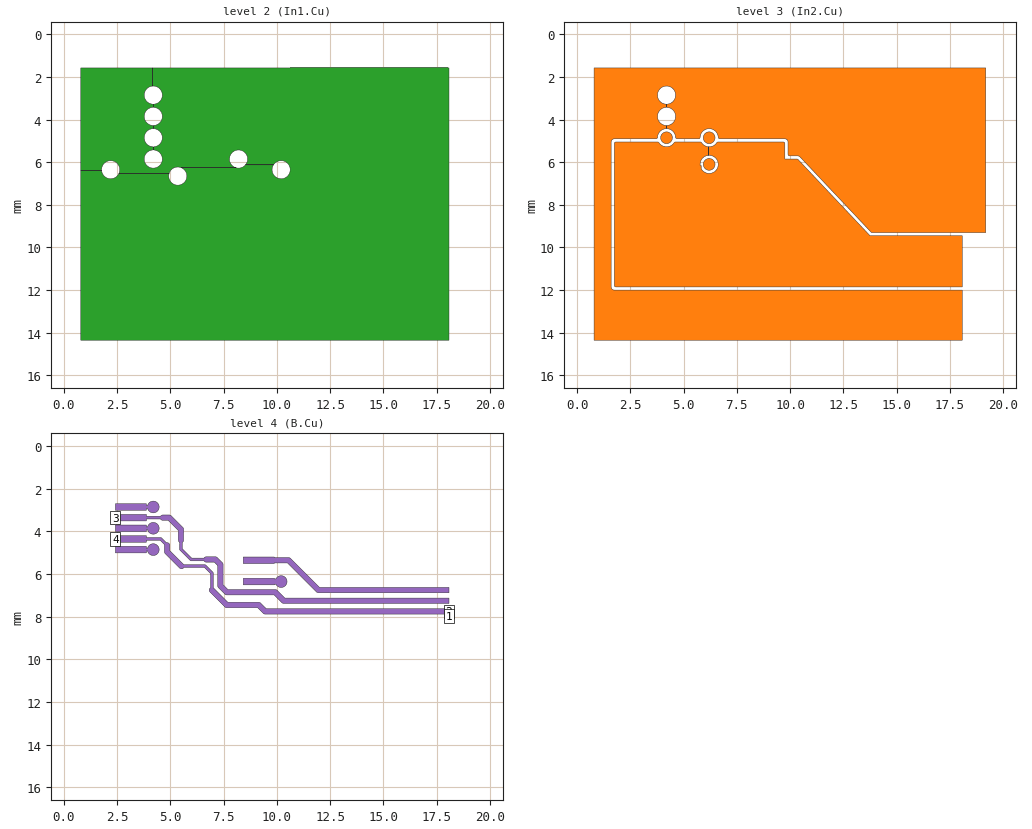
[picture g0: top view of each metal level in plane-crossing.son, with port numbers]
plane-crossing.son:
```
FTYP SONPROJ 19 ! Sonnet Project File
VER 18.52
HEADER
LIC antikernel2.1.51176
DAT 11/06/2021 04:31:49
BUILT_BY_CREATED dxf 18.52 11/06/2021 02:57:25
BUILT_BY_SAVED sonnet 18.52
MDATE 11/06/2021 04:31:49
HDATE 11/06/2021 04:31:49
ANN Created by dxfgeo, Sonnet Software Inc.
END HEADER
DIM
ANG DEG
CAP PF
CON /OH
FREQ GHZ
IND NH
LNG MM
RES OH
END DIM
CONTROL
VARSWP
OPTIONS  -dj
SPEED 1
CACHE_ABS 2
Q_ACC N
END CONTROL
GEO
TMET "Free Space" 0 FREESPACE 376.7303136 0 0 0
BMET "Free Space" 0 FREESPACE 376.7303136 0 0 0
MET "Copper_outer" 1 NOR 58000000 0.5 0.0432 
MET "Copper_inner" 2 NOR 58000000 0.5 0.0175 
BOX 6 20 16 1600 1280 20 0
      10 1 1 0 0 0 0 "Air"
      0.05 3.5 1 0.02 0 0 0 "Soldermask"
      0.1702 3.68 1 0.0092 0 0 0 "Isola_FR408HR"
      1.1938 3.68 1 0.0092 0 0 0 "Isola_FR408HR"
      0.1702 3.68 1 0.0092 0 0 0 "Isola_FR408HR"
      0.05 3.5 1 0.02 0 0 0 "Soldermask"
      10 1 1 0 0 0 0 "Air"
TECHLAY METAL F.Cu L1D0 -1 -65534 CAD Metal1 drawing 
1 0 0 N 993 1 1 100 100 0 0 0 Y
END
END
TECHLAY VIA Via1 L5D0 -5 -65534 CAD Via1 drawing 
VIA POLYGON
1 0 -1 N 1151 1 1 100 100 0 0 0 Y
TOLEVEL 4 RING NOCOVERS
END
END
TECHLAY METAL In1.Cu L2D0 -2 -65534 CAD In1.Cu drawing 
2 0 1 N 998 1 1 100 100 0 0 0 Y
END
END
TECHLAY METAL In2.Cu L3D0 -3 -65534 CAD In2.Cu drawing 
3 0 1 N 1001 1 1 100 100 0 0 0 Y
END
END
TECHLAY METAL B.Cu L4D0 -4 -65534 CAD B.Cu drawing 
4 0 0 N 1004 1 1 100 100 0 0 0 Y
END
END
LORGN 0 16 U 
POR1 CUP Auto
GNDREF AUTO
TERMW FEED
POLY 1053 1
121
2 50 0 0 0 18.075 7.75 
CUPGRP "Auto" LOCAL
ID 1153
END
POR1 CUP Auto
GNDREF AUTO
TERMW FEED
POLY 1053 1
54
4 50 0 0 0 2.425 4.35 
CUPGRP "Auto" LOCAL
ID 1161
END
POR1 CUP Auto
GNDREF AUTO
TERMW FEED
POLY 1059 1
159
1 50 0 0 0 18.075 7.25 
CUPGRP "Auto" LOCAL
ID 1154
END
POR1 CUP Auto
GNDREF AUTO
TERMW FEED
POLY 1059 1
85
3 50 0 0 0 2.425 3.35 
CUPGRP "Auto" LOCAL
ID 1155
END
NUM 15
2 4 1 N 913 1 1 100 100 0 0 0 Y
TLAYNAM In1.Cu INH
USER_DAT FromImport
13.921 1.378
13.921 1.378
13.921 1.378
13.921 1.378
END
2 4 1 N 915 1 1 100 100 0 0 0 Y
TLAYNAM In1.Cu INH
USER_DAT FromImport
13.921 1.378
13.921 1.378
13.921 1.378
13.921 1.378
END
2 390 1 N 1123 1 1 100 100 0 0 0 Y
TLAYNAM In1.Cu INH
18.075 1.575
18.025 1.575
18.025 1.55
10.625 1.55
10.625 1.575
4.159 1.575
4.159 2.425
4.241 2.425
4.323 2.441
4.399 2.472
4.471 2.52
4.53 2.579
4.578 2.651
4.609 2.727
4.625 2.809
4.625 2.891
4.609 2.973
4.578 3.049
4.53 3.121
4.471 3.18
4.399 3.228
4.323 3.259
4.238 3.276
4.231 3.277
4.224 3.279
4.217 3.282
4.211 3.285
4.205 3.289
4.204 3.29
4.2 3.293
4.2 3.407
4.204 3.41
4.21 3.414
4.217 3.418
4.224 3.421
4.231 3.423
4.323 3.441
4.399 3.472
4.471 3.52
4.53 3.579
4.578 3.651
4.609 3.727
4.625 3.809
4.625 3.891
4.609 3.973
4.576 4.053
4.573 4.056
4.569 4.062
4.53 4.121
4.471 4.18
4.399 4.228
4.323 4.259
4.238 4.276
4.231 4.277
4.224 4.279
4.217 4.282
4.211 4.285
4.205 4.289
4.204 4.29
4.2 4.293
4.2 4.293
4.2 4.407
4.204 4.41
4.21 4.414
4.217 4.418
4.224 4.421
4.231 4.423
4.323 4.441
4.399 4.472
4.471 4.52
4.53 4.579
4.578 4.651
4.609 4.727
4.625 4.809
4.625 4.891
4.609 4.973
4.578 5.049
4.53 5.121
4.471 5.18
4.399 5.228
4.323 5.259
4.238 5.276
4.231 5.277
4.224 5.279
4.217 5.282
4.211 5.285
4.205 5.289
4.204 5.29
4.2 5.293
4.2 5.293
4.2 5.407
4.204 5.41
4.21 5.414
4.217 5.418
4.224 5.421
4.231 5.423
4.323 5.441
4.399 5.472
4.471 5.52
4.53 5.579
4.578 5.651
4.609 5.727
4.625 5.809
4.625 5.863
4.625 5.891
4.609 5.973
4.578 6.049
4.53 6.121
4.471 6.18
4.399 6.228
4.367129032 6.241
4.367129032 6.241
4.323 6.259
4.241 6.275
4.159 6.275
4.077 6.259
4.001 6.228
3.929 6.18
3.895 6.146
3.87 6.121
3.842 6.079
3.842 6.079
3.822 6.049
3.791 5.973
3.775 5.891
3.775 5.809
3.791 5.727
3.822 5.651
3.87 5.579
3.929 5.52
4.001 5.472
4.077 5.441
4.162 5.424
4.169 5.423
4.176 5.421
4.183 5.418
4.189 5.415
4.195 5.411
4.196 5.41
4.2 5.407
4.2 5.407
4.2 5.293
4.196 5.29
4.19 5.286
4.183 5.282
4.176 5.279
4.169 5.277
4.077 5.259
4.001 5.228
3.929 5.18
3.87 5.121
3.822 5.049
3.791 4.973
3.775 4.891
3.775 4.809
3.791 4.727
3.822 4.651
3.87 4.579
3.929 4.52
4.001 4.472
4.077 4.441
4.162 4.424
4.169 4.423
4.176 4.421
4.183 4.418
4.189 4.415
4.195 4.411
4.196 4.41
4.2 4.407
4.2 4.407
4.2 4.293
4.196 4.29
4.19 4.286
4.183 4.282
4.176 4.279
4.169 4.277
4.077 4.259
4.001 4.228
3.929 4.18
3.87 4.121
3.822 4.049
3.791 3.973
3.775 3.891
3.775 3.809
3.791 3.727
3.822 3.651
3.87 3.579
3.929 3.52
4.001 3.472
4.077 3.441
4.162 3.424
4.169 3.423
4.176 3.421
4.183 3.418
4.189 3.415
4.195 3.411
4.196 3.41
4.2 3.407
4.2 3.407
4.2 3.407
4.2 3.293
4.196 3.29
4.19 3.286
4.183 3.282
4.176 3.279
4.169 3.277
4.077 3.259
4.001 3.228
3.929 3.18
3.87 3.121
3.822 3.049
3.791 2.973
3.775 2.891
3.775 2.809
3.791 2.727
3.822 2.651
3.87 2.579
3.929 2.52
4.001 2.472
4.077 2.441
4.159 2.425
4.159 1.575
0.8 1.575
0.8 6.391
1.775 6.391
1.775 6.309
1.791 6.227
1.822 6.151
1.87 6.079
1.929 6.02
2.001 5.972
2.077 5.941
2.159 5.925
2.241 5.925
2.323 5.941
2.399 5.972
2.471 6.02
2.53 6.079
2.558 6.121
2.578 6.151
2.609 6.227
2.625 6.309
2.625 6.391
2.609 6.473
2.586725 6.527
2.586725 6.527
2.586725 6.527
4.941 6.527
4.972 6.451
5.02 6.379
5.079 6.32
5.151 6.272
5.227 6.241
5.309 6.225
5.391 6.225
5.473 6.241
5.517129032 6.259
8.077 6.259
8.03287097 6.241
8.001 6.228
7.929 6.18
7.87 6.121
7.822 6.049
7.791 5.973
7.775 5.891
7.775 5.809
7.791 5.727
7.822 5.651
7.87 5.579
7.929 5.52
8.001 5.472
8.077 5.441
8.159 5.425
8.241 5.425
8.323 5.441
8.399 5.472
8.471 5.52
8.53 5.579
8.578 5.651
8.609 5.727
8.625 5.809
8.625 5.891
8.609 5.973
8.578 6.049
8.53 6.121
8.53 6.121
9.842 6.121
9.842 6.121
9.87 6.079
9.895 6.054
9.929 6.02
10.001 5.972
10.077 5.941
10.159 5.925
10.246 5.925
10.307 5.937
10.309 5.938
10.314 5.939
10.321 5.94
10.323 5.941
10.399 5.972
10.471 6.02
10.53 6.079
10.578 6.151
10.609 6.227
10.625 6.309
10.625 6.391
10.609 6.473
10.578 6.549
10.53 6.621
10.471 6.68
10.399 6.728
10.323 6.759
10.241 6.775
10.159 6.775
10.077 6.759
10.001 6.728
9.929 6.68
9.87 6.621
9.822 6.549
9.81506579 6.532
9.791 6.473
9.775 6.391
9.775 6.309
9.791 6.227
9.822 6.151
9.842 6.121
8.53 6.121
8.471 6.18
8.401 6.227
8.4 6.228
8.399 6.228
8.395 6.23
8.393 6.23
8.386 6.233
8.323 6.259
8.241 6.275
8.159 6.275
8.077 6.259
5.517129032 6.259
5.517129032 6.259
5.517129032 6.259
5.549 6.272
5.621 6.32
5.68 6.379
5.728 6.451
5.759 6.527
5.775 6.609
5.775 6.691
5.759 6.773
5.726 6.853
5.723 6.856
5.719 6.862
5.68 6.921
5.621 6.98
5.549 7.028
5.473 7.059
5.391 7.075
5.309 7.075
5.227 7.059
5.151 7.028
5.079 6.98
5.02 6.921
4.972 6.849
4.941 6.773
4.925 6.691
4.925 6.609
4.941 6.527
2.586725 6.527
2.576 6.553
2.573 6.556
2.569 6.562
2.53 6.621
2.471 6.68
2.399 6.728
2.323 6.759
2.241 6.775
2.159 6.775
2.077 6.759
2.001 6.728
1.929 6.68
1.87 6.621
1.822 6.549
1.791 6.473
1.775 6.391
0.8 6.391
0.8 6.391
0.8 14.35
18.075 14.35
18.075 1.575
END
3 65 1 N 400 1 1 100 100 0 0 0 Y
TLAYNAM In2.Cu INH
USER_DAT FromImport
6.187 6.375
6.16 6.372
6.133 6.367
6.107 6.359
6.082 6.349
6.059 6.336
6.036 6.321
6.015 6.304
5.996 6.285
5.979 6.264
5.964 6.241
5.951 6.218
5.941 6.193
5.933 6.167
5.928 6.14
5.925 6.113
5.925 6.087
5.928 6.06
5.933 6.033
5.941 6.007
5.951 5.982
5.964 5.959
5.979 5.936
5.996 5.915
6.015 5.896
6.036 5.879
6.059 5.864
6.082 5.851
6.107 5.841
6.133 5.833
6.16 5.828
6.187 5.825
6.213 5.825
6.24 5.828
6.267 5.833
6.293 5.841
6.318 5.851
6.341 5.864
6.364 5.879
6.385 5.896
6.404 5.915
6.421 5.936
6.436 5.959
6.449 5.982
6.459 6.007
6.467 6.033
6.472 6.06
6.475 6.087
6.475 6.113
6.472 6.14
6.467 6.167
6.459 6.193
6.449 6.218
6.436 6.241
6.421 6.264
6.404 6.285
6.385 6.304
6.364 6.321
6.341 6.336
6.318 6.349
6.293 6.359
6.267 6.367
6.24 6.372
6.213 6.375
6.187 6.375
END
3 65 1 N 402 1 1 100 100 0 0 0 Y
TLAYNAM In2.Cu INH
USER_DAT FromImport
4.187 5.125
4.16 5.122
4.133 5.117
4.107 5.109
4.082 5.099
4.059 5.086
4.036 5.071
4.015 5.054
3.996 5.035
3.979 5.014
3.964 4.991
3.951 4.968
3.941 4.943
3.933 4.917
3.928 4.89
3.925 4.863
3.925 4.837
3.928 4.81
3.933 4.783
3.941 4.757
3.951 4.732
3.964 4.709
3.979 4.686
3.996 4.665
4.015 4.646
4.036 4.629
4.059 4.614
4.082 4.601
4.107 4.591
4.133 4.583
4.16 4.578
4.187 4.575
4.213 4.575
4.24 4.578
4.267 4.583
4.293 4.591
4.318 4.601
4.341 4.614
4.364 4.629
4.385 4.646
4.404 4.665
4.421 4.686
4.436 4.709
4.449 4.732
4.459 4.757
4.467 4.783
4.472 4.81
4.475 4.837
4.475 4.863
4.472 4.89
4.467 4.917
4.459 4.943
4.449 4.968
4.436 4.991
4.421 5.014
4.404 5.035
4.385 5.054
4.364 5.071
4.341 5.086
4.318 5.099
4.293 5.109
4.267 5.117
4.24 5.122
4.213 5.125
4.187 5.125
END
3 65 1 N 403 1 1 100 100 0 0 0 Y
TLAYNAM In2.Cu INH
USER_DAT FromImport
6.187 5.125
6.16 5.122
6.133 5.117
6.107 5.109
6.082 5.099
6.059 5.086
6.036 5.071
6.015 5.054
5.996 5.035
5.979 5.014
5.964 4.991
5.951 4.968
5.941 4.943
5.933 4.917
5.928 4.89
5.925 4.863
5.925 4.837
5.928 4.81
5.933 4.783
5.941 4.757
5.951 4.732
5.964 4.709
5.979 4.686
5.996 4.665
6.015 4.646
6.036 4.629
6.059 4.614
6.082 4.601
6.107 4.591
6.133 4.583
6.16 4.578
6.187 4.575
6.213 4.575
6.24 4.578
6.267 4.583
6.293 4.591
6.318 4.601
6.341 4.614
6.364 4.629
6.385 4.646
6.404 4.665
6.421 4.686
6.436 4.709
6.449 4.732
6.459 4.757
6.467 4.783
6.472 4.81
6.475 4.837
6.475 4.863
6.472 4.89
6.467 4.917
6.459 4.943
6.449 4.968
6.436 4.991
6.421 5.014
6.404 5.035
6.385 5.054
6.364 5.071
6.341 5.086
6.318 5.099
6.293 5.109
6.267 5.117
6.24 5.122
6.213 5.125
6.187 5.125
END
3 175 1 N 1119 1 1 100 100 0 0 0 Y
TLAYNAM In2.Cu INH
18.075 9.45
13.75 9.45
13.75 9.449
13.749 9.449
13.749 9.448
13.748 9.448
10.378 5.88
10.373 5.875
10.37 5.871
10.368 5.869
10.366 5.868
10.364 5.866
10.352 5.858
10.351 5.857
10.35 5.857
10.343 5.854
10.336 5.852
10.333 5.852
10.331 5.851
10.324 5.85
9.75 5.85
9.75 5.114
9.746 5.1
9.74 5.086
9.736 5.08
9.731 5.075
9.726 5.069
9.725 5.069
9.72 5.065
9.708 5.057
9.701 5.054
9.694 5.052
9.693 5.052
9.679 5.05
6.614 5.05
6.606 5.051
6.599 5.052
6.597 5.053
6.593 5.054
6.592 5.055
6.588 5.056
6.586 5.057
6.585 5.057
6.579 5.061
6.572 5.065
6.562 5.075
6.557 5.081
6.554 5.086
6.53 5.121
6.471 5.18
6.399 5.228
6.323 5.259
6.241 5.275
6.159 5.275
6.159 5.675
6.241 5.675
6.323 5.691
6.399 5.722
6.471 5.77
6.53 5.829
6.578 5.901
6.609 5.977
6.625 6.059
6.625 6.141
6.609 6.223
6.578 6.299
6.53 6.371
6.471 6.43
6.399 6.478
6.323 6.509
6.241 6.525
6.159 6.525
6.077 6.509
6.001 6.478
5.929 6.43
5.878 6.379
5.87 6.371
5.825 6.3035
5.825 6.15
5.776756098 6.15
5.775 6.141
5.775 6.059
5.791 5.977
5.822 5.901
5.87 5.829
5.929 5.77
6.001 5.722
6.077 5.691
6.159 5.675
6.159 5.275
6.159 5.275
6.077 5.259
6.001 5.228
5.929 5.18
5.87 5.121
5.851 5.094
5.851 5.093
5.847 5.086
5.843 5.08
5.838 5.075
5.833 5.069
5.828 5.065
5.821 5.061
5.815 5.057
5.808 5.054
5.801 5.052
5.794 5.051
5.786 5.05
4.614 5.05
4.606 5.051
4.599 5.052
4.597 5.053
4.593 5.054
4.592 5.055
4.588 5.056
4.586 5.057
4.585 5.057
4.579 5.061
4.572 5.065
4.562 5.075
4.557 5.081
4.554 5.086
4.53 5.121
4.471 5.18
4.399 5.228
4.323 5.259
4.241 5.275
4.159 5.275
4.077 5.259
4.001 5.228
3.929 5.18
3.87 5.121
3.849 5.09
3.847 5.086
3.843 5.08
3.838 5.075
3.833 5.069
3.832 5.069
3.827 5.065
3.815 5.057
3.808 5.054
3.801 5.052
3.8 5.052
3.786 5.05
1.821 5.05
1.807 5.052
1.8 5.054
1.793 5.057
1.786 5.061
1.78 5.065
1.775 5.069
1.769 5.075
1.765 5.08
1.761 5.086
1.757 5.093
1.754 5.1
1.752 5.107
1.75 5.121
1.75 11.779
1.752 11.793
1.754 11.8
1.757 11.807
1.761 11.814
1.765 11.82
1.769 11.825
1.774 11.831
1.775 11.831
1.78 11.835
1.786 11.839
1.793 11.843
1.8 11.846
1.807 11.848
1.821 11.85
18.075 11.85
18.075 9.45
END
3 286 1 N 1121 1 1 100 100 0 0 0 Y
TLAYNAM In2.Cu INH
18.075 12
1.746 12
1.723 11.997
1.695 11.989
1.668 11.975
1.644 11.955
1.626 11.933
1.612 11.908
1.603 11.878
1.6 11.854
1.6 5.046
1.603 5.023
1.611 4.995
1.625 4.969
1.645 4.944
1.667 4.926
1.692 4.912
1.722 4.903
1.746 4.9
3.711 4.9
3.725 4.896
3.739 4.89
3.745 4.886
3.75 4.881
3.756 4.876
3.756 4.875
3.76 4.87
3.764 4.864
3.768 4.857
3.771 4.851
3.773 4.843
3.775 4.829
3.775 4.809
3.791 4.727
3.822 4.651
3.87 4.579
3.929 4.52
4.001 4.472
4.077 4.441
4.162 4.424
4.169 4.423
4.176 4.421
4.183 4.418
4.189 4.415
4.195 4.411
4.196 4.41
4.2 4.407
4.2 4.407
4.2 4.407
4.2 4.293
4.196 4.29
4.19 4.286
4.183 4.282
4.176 4.279
4.169 4.277
4.077 4.259
4.001 4.228
3.929 4.18
3.87 4.121
3.822 4.049
3.791 3.973
3.775 3.891
3.775 3.809
3.791 3.727
3.822 3.651
3.87 3.579
3.929 3.52
4.001 3.472
4.077 3.441
4.162 3.424
4.169 3.423
4.176 3.421
4.183 3.418
4.189 3.415
4.195 3.411
4.196 3.41
4.2 3.407
4.2 3.407
4.2 3.293
4.196 3.29
4.19 3.286
4.183 3.282
4.176 3.279
4.169 3.277
4.077 3.259
4.001 3.228
3.929 3.18
3.87 3.121
3.822 3.049
3.791 2.973
3.775 2.891
3.775 2.809
3.791 2.727
3.822 2.651
3.87 2.579
3.929 2.52
4.001 2.472
4.077 2.441
4.159 2.425
4.241 2.425
4.323 2.441
4.399 2.472
4.471 2.52
4.486 2.535
4.53 2.579
4.558 2.621
4.578 2.651
4.609 2.727
4.625 2.809
4.625 2.891
4.609 2.973
4.578 3.049
4.53 3.121
4.471 3.18
4.399 3.228
4.323 3.259
4.238 3.276
4.231 3.277
4.224 3.279
4.217 3.282
4.211 3.285
4.205 3.289
4.204 3.29
4.2 3.293
4.2 3.293
4.2 3.407
4.204 3.41
4.21 3.414
4.217 3.418
4.224 3.421
4.231 3.423
4.323 3.441
4.399 3.472
4.471 3.52
4.53 3.579
4.578 3.651
4.609 3.727
4.625 3.809
4.625 3.891
4.609 3.973
4.576 4.053
4.573 4.056
4.569 4.062
4.53 4.121
4.471 4.18
4.399 4.228
4.323 4.259
4.238 4.276
4.231 4.277
4.224 4.279
4.217 4.282
4.211 4.285
4.205 4.289
4.204 4.29
4.2 4.293
4.2 4.407
4.204 4.41
4.21 4.414
4.217 4.418
4.224 4.421
4.231 4.423
4.323 4.441
4.399 4.472
4.471 4.52
4.53 4.579
4.578 4.651
4.609 4.727
4.625 4.809
4.625 4.829
4.627 4.843
4.629 4.85
4.632 4.857
4.636 4.864
4.64 4.87
4.644 4.875
4.65 4.881
4.655 4.885
4.661 4.889
4.668 4.893
4.675 4.896
4.682 4.898
4.696 4.9
5.711 4.9
5.725 4.896
5.739 4.89
5.745 4.886
5.75 4.881
5.756 4.876
5.756 4.875
5.76 4.87
5.764 4.864
5.768 4.857
5.771 4.851
5.773 4.843
5.775 4.829
5.775 4.809
5.791 4.727
5.822 4.651
5.87 4.579
5.929 4.52
6.001 4.472
6.077 4.441
6.159 4.425
6.241 4.425
6.323 4.441
6.399 4.472
6.471 4.52
6.53 4.579
6.578 4.651
6.609 4.727
6.625 4.809
6.625 4.829
6.627 4.843
6.629 4.85
6.632 4.857
6.636 4.864
6.64 4.87
6.644 4.875
6.65 4.881
6.655 4.885
6.661 4.889
6.668 4.893
6.675 4.896
6.682 4.898
6.696 4.9
9.754 4.9
9.777 4.903
9.805 4.911
9.831 4.925
9.856 4.944
9.856 4.945
9.857 4.945
9.857 4.946
9.861 4.95
9.861 4.951
9.867 4.957
9.874 4.966
9.888 4.992
9.897 5.022
9.9 5.046
9.9 5.629
9.902 5.643
9.904 5.65
9.907 5.657
9.911 5.664
9.915 5.67
9.919 5.675
9.925 5.681
9.93 5.685
9.936 5.689
9.943 5.693
9.95 5.696
9.957 5.698
9.971 5.7
10.354 5.7
10.377 5.703
10.405 5.711
10.433 5.726
10.465 5.753
10.468 5.756
11.779 7.144
11.78 7.146
11.789 7.155
11.79 7.157
11.791 7.157
11.792 7.158
13.785 9.268
13.786 9.27
13.791 9.275
13.796 9.281
13.814 9.293
13.821 9.296
13.828 9.298
13.832 9.299
13.834 9.299
13.841 9.3
19.175 9.3
19.175 1.575
16.875 1.575
16.875 1.575
11.8 1.575
11.8 1.575
0.8 1.575
0.8 14.35
18.075 14.35
18.075 12
END
4 69 0 N 504 1 1 100 100 0 0 0 Y
TLAYNAM B.Cu INH
USER_DAT FromImport
4.187 3.125
4.16 3.122
4.133 3.117
4.107 3.109
4.082 3.099
4.059 3.086
4.036 3.071
4.015 3.054
3.996 3.035
3.979 3.014
3.964 2.991
3.951 2.968
3.941 2.943
3.933 2.917
3.932 2.913
3.875 2.913
3.875 3.003
2.425 3.003
2.425 2.697
3.875 2.697
3.875 2.787
3.932 2.787
3.933 2.783
3.941 2.757
3.951 2.732
3.964 2.709
3.979 2.686
3.996 2.665
4.015 2.646
4.036 2.629
4.059 2.614
4.082 2.601
4.107 2.591
4.133 2.583
4.16 2.578
4.187 2.575
4.213 2.575
4.24 2.578
4.267 2.583
4.293 2.591
4.318 2.601
4.341 2.614
4.364 2.629
4.385 2.646
4.404 2.665
4.421 2.686
4.436 2.709
4.449 2.732
4.459 2.757
4.467 2.783
4.472 2.81
4.475 2.837
4.475 2.863
4.472 2.89
4.467 2.917
4.459 2.943
4.449 2.968
4.436 2.991
4.421 3.014
4.404 3.035
4.385 3.054
4.364 3.071
4.341 3.086
4.318 3.099
4.293 3.109
4.267 3.117
4.24 3.122
4.213 3.125
4.187 3.125
END
4 69 0 N 510 1 1 100 100 0 0 0 Y
TLAYNAM B.Cu INH
USER_DAT FromImport
4.187 5.125
4.16 5.122
4.133 5.117
4.107 5.109
4.082 5.099
4.059 5.086
4.036 5.071
4.015 5.054
3.996 5.035
3.979 5.014
3.964 4.991
3.951 4.968
3.941 4.943
3.933 4.917
3.932 4.913
3.875 4.913
3.875 5.003
2.425 5.003
2.425 4.697
3.875 4.697
3.875 4.787
3.932 4.787
3.933 4.783
3.941 4.757
3.951 4.732
3.964 4.709
3.979 4.686
3.996 4.665
4.015 4.646
4.036 4.629
4.059 4.614
4.082 4.601
4.107 4.591
4.133 4.583
4.16 4.578
4.187 4.575
4.213 4.575
4.24 4.578
4.267 4.583
4.293 4.591
4.318 4.601
4.341 4.614
4.364 4.629
4.385 4.646
4.404 4.665
4.421 4.686
4.436 4.709
4.449 4.732
4.459 4.757
4.467 4.783
4.472 4.81
4.475 4.837
4.475 4.863
4.472 4.89
4.467 4.917
4.459 4.943
4.449 4.968
4.436 4.991
4.421 5.014
4.404 5.035
4.385 5.054
4.364 5.071
4.341 5.086
4.318 5.099
4.293 5.109
4.267 5.117
4.24 5.122
4.213 5.125
4.187 5.125
END
4 69 0 N 514 1 1 100 100 0 0 0 Y
TLAYNAM B.Cu INH
USER_DAT FromImport
4.187 4.125
4.16 4.122
4.133 4.117
4.107 4.109
4.082 4.099
4.059 4.086
4.036 4.071
4.015 4.054
3.996 4.035
3.979 4.014
3.964 3.991
3.951 3.968
3.941 3.943
3.933 3.917
3.932 3.913
3.875 3.913
3.875 4.003
2.425 4.003
2.425 3.697
3.875 3.697
3.875 3.787
3.932 3.787
3.933 3.783
3.941 3.757
3.951 3.732
3.964 3.709
3.979 3.686
3.996 3.665
4.015 3.646
4.036 3.629
4.059 3.614
4.082 3.601
4.107 3.591
4.133 3.583
4.16 3.578
4.187 3.575
4.213 3.575
4.24 3.578
4.267 3.583
4.293 3.591
4.318 3.601
4.341 3.614
4.364 3.629
4.385 3.646
4.404 3.665
4.421 3.686
4.436 3.709
4.449 3.732
4.459 3.757
4.467 3.783
4.472 3.81
4.475 3.837
4.475 3.863
4.472 3.89
4.467 3.917
4.459 3.943
4.449 3.968
4.436 3.991
4.421 4.014
4.404 4.035
4.385 4.054
4.364 4.071
4.341 4.086
4.318 4.099
4.293 4.109
4.267 4.117
4.24 4.122
4.213 4.125
4.187 4.125
END
4 63 0 N 522 1 1 100 100 0 0 0 Y
TLAYNAM B.Cu INH
USER_DAT FromImport
10.187 6.625
10.16 6.622
10.133 6.617
10.107 6.609
10.082 6.599
10.059 6.586
10.036 6.571
10.015 6.554
9.996 6.535
9.979 6.514
9.964 6.491
9.955 6.475
9.875 6.475
9.875 6.503
8.425 6.503
8.425 6.197
9.875 6.197
9.875 6.225
9.955 6.225
9.964 6.209
9.979 6.186
9.996 6.165
10.015 6.146
10.036 6.129
10.059 6.114
10.082 6.101
10.107 6.091
10.133 6.083
10.16 6.078
10.187 6.075
10.213 6.075
10.24 6.078
10.267 6.083
10.293 6.091
10.318 6.101
10.341 6.114
10.364 6.129
10.385 6.146
10.404 6.165
10.421 6.186
10.436 6.209
10.449 6.232
10.459 6.257
10.467 6.283
10.472 6.31
10.475 6.337
10.475 6.363
10.472 6.39
10.467 6.417
10.459 6.443
10.449 6.468
10.436 6.491
10.421 6.514
10.404 6.535
10.385 6.554
10.364 6.571
10.341 6.586
10.318 6.599
10.293 6.609
10.267 6.617
10.24 6.622
10.213 6.625
10.187 6.625
END
4 123 0 N 1053 1 1 100 100 0 0 0 Y
TLAYNAM B.Cu INH
USER_DAT FromImport
18.075 7.625
9.502 7.625
9.251 7.375
9.243 7.366
9.234 7.357
9.225 7.349
9.214 7.343
9.204 7.337
9.192 7.332
9.168 7.326
9.156 7.325
7.702 7.325
7.034 6.657
7.025 6.649
7.014 6.643
7.013 6.642
7.013 5.947
7.011 5.935
7.007 5.923
7.004 5.918
6.996 5.908
6.667 5.579
6.657 5.571
6.652 5.568
6.64 5.564
6.628 5.562
5.633 5.562
5.626 5.55
5.618 5.541
4.975 4.898
4.975 4.644
4.974 4.632
4.968 4.608
4.963 4.596
4.957 4.586
4.951 4.575
4.943 4.566
4.934 4.557
4.925 4.549
4.914 4.543
4.904 4.537
4.892 4.532
4.868 4.526
4.856 4.525
4.844 4.525
4.832 4.526
4.818 4.53
4.592 4.304
4.582 4.296
4.577 4.293
4.565 4.289
4.553 4.287
3.875 4.287
3.875 4.197
2.425 4.197
2.425 4.503
3.875 4.503
3.875 4.413
4.525 4.413
4.73 4.618
4.726 4.632
4.725 4.644
4.725 4.956
4.726 4.968
4.732 4.992
4.737 5.004
4.743 5.014
4.749 5.025
4.757 5.034
5.441 5.718
5.45 5.726
5.472 5.738
5.483 5.743
5.507 5.749
5.519 5.75
5.531 5.75
5.543 5.749
5.567 5.743
5.579 5.738
5.589 5.732
5.6 5.726
5.609 5.718
5.618 5.709
5.626 5.7
5.632 5.689
5.633 5.688
6.6 5.688
6.887 5.975
6.887 6.642
6.886 6.643
6.875 6.649
6.866 6.657
6.857 6.666
6.849 6.675
6.843 6.686
6.837 6.696
6.832 6.708
6.826 6.732
6.825 6.744
6.825 6.756
6.826 6.768
6.832 6.792
6.837 6.804
6.843 6.814
6.849 6.825
6.857 6.834
7.566 7.543
7.575 7.551
7.586 7.557
7.596 7.563
7.608 7.568
7.632 7.574
7.644 7.575
9.098 7.575
9.366 7.843
9.375 7.851
9.386 7.857
9.396 7.863
9.408 7.868
9.432 7.874
9.444 7.875
18.075 7.875
18.075 7.625
END
4 27 0 N 1055 1 1 100 100 0 0 0 Y
TLAYNAM B.Cu INH
USER_DAT FromImport
18.075 6.625
12.002 6.625
10.651 5.275
10.643 5.266
10.634 5.257
10.625 5.249
10.614 5.243
10.604 5.237
10.592 5.232
10.568 5.226
10.556 5.225
9.875 5.225
9.875 5.197
8.425 5.197
8.425 5.503
9.875 5.503
9.875 5.475
10.498 5.475
11.866 6.843
11.875 6.851
11.886 6.857
11.896 6.863
11.908 6.868
11.932 6.874
11.944 6.875
18.075 6.875
18.075 6.625
END
4 161 0 N 1059 1 1 100 100 0 0 0 Y
TLAYNAM B.Cu INH
USER_DAT FromImport
18.075 7.125
10.375 7.125
10.024 6.775
10.016 6.766
10.007 6.757
9.998 6.749
9.987 6.743
9.977 6.737
9.965 6.732
9.941 6.726
9.929 6.725
7.702 6.725
7.475 6.498
7.475 5.544
7.474 5.532
7.472 5.52
7.468 5.508
7.464 5.497
7.458 5.486
7.453 5.48
7.451 5.476
7.451 5.475
7.443 5.466
7.197 5.22
7.188 5.212
7.177 5.206
7.167 5.2
7.155 5.195
7.131 5.189
7.119 5.188
6.681 5.188
6.669 5.189
6.645 5.195
6.633 5.2
6.623 5.206
6.612 5.212
6.603 5.22
6.594 5.229
6.586 5.238
6.58 5.249
6.579 5.25
6.003 5.25
5.563 4.81
5.563 4.508
5.564 4.507
5.575 4.501
5.584 4.493
5.593 4.484
5.601 4.475
5.607 4.464
5.613 4.454
5.618 4.442
5.624 4.418
5.625 4.406
5.625 3.894
5.624 3.882
5.618 3.858
5.613 3.846
5.607 3.836
5.601 3.825
5.593 3.816
5.584 3.807
5.575 3.799
5.051 3.275
5.043 3.266
5.034 3.257
5.025 3.249
5.014 3.243
5.004 3.237
4.992 3.232
4.968 3.226
4.956 3.225
4.644 3.225
4.632 3.226
4.608 3.232
4.596 3.237
4.586 3.243
4.575 3.249
4.566 3.257
4.557 3.266
4.549 3.275
4.543 3.286
4.542 3.287
3.875 3.287
3.875 3.197
2.425 3.197
2.425 3.503
3.875 3.503
3.875 3.412
4.542 3.413
4.543 3.414
4.549 3.425
4.557 3.434
4.566 3.443
4.575 3.451
4.586 3.457
4.596 3.463
4.608 3.468
4.632 3.474
4.644 3.475
4.898 3.475
5.375 3.952
5.375 4.406
5.376 4.418
5.382 4.442
5.387 4.454
5.393 4.464
5.399 4.475
5.407 4.484
5.416 4.493
5.425 4.501
5.436 4.507
5.438 4.508
5.437 4.832
5.437 4.838
5.439 4.85
5.443 4.862
5.446 4.867
5.454 4.877
5.936 5.359
5.946 5.367
5.951 5.37
5.963 5.374
5.975 5.376
6.579 5.376
6.58 5.377
6.586 5.388
6.594 5.397
6.603 5.406
6.612 5.414
6.623 5.42
6.633 5.426
6.645 5.431
6.669 5.437
6.681 5.438
7.061 5.438
7.225 5.602
7.225 6.556
7.226 6.568
7.232 6.592
7.237 6.604
7.243 6.614
7.249 6.625
7.257 6.634
7.566 6.943
7.575 6.951
7.586 6.957
7.596 6.963
7.608 6.968
7.632 6.974
7.644 6.975
9.871 6.975
10.239 7.343
10.248 7.351
10.259 7.357
10.269 7.363
10.281 7.368
10.305 7.374
10.317 7.375
18.075 7.375
18.075 7.125
END
END GEO
OPT
MAX 100
END OPT
VARSWP
ENABLED Y
FREQ Y AY ABS_ENTRY 0.001 2.0 -1 300 
END
END VARSWP
```
